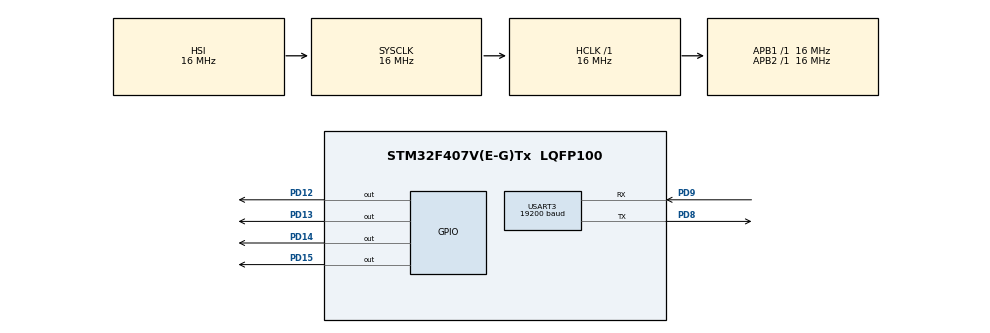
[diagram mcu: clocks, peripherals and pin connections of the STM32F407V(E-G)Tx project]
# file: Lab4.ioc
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Mcu.Family=STM32F4
Mcu.Name=STM32F407V(E-G)Tx
Mcu.Package=LQFP100
NVIC.PriorityGroup=NVIC_PRIORITYGROUP_4
PD12.Signal=GPIO_Output
PD13.Signal=GPIO_Output
PD14.Signal=GPIO_Output
PD15.Signal=GPIO_Output
PD8.Mode=Asynchronous
PD8.Signal=USART3_TX
PD9.Mode=Asynchronous
PD9.Signal=USART3_RX
ProjectManager.HeapSize=0x200
ProjectManager.StackSize=0x400
ProjectManager.TargetToolchain=STM32CubeIDE
RCC.AHBFreq_Value=16000000
RCC.APB1Freq_Value=16000000
RCC.APB2Freq_Value=16000000
RCC.CortexFreq_Value=16000000
RCC.HSE_VALUE=25000000
RCC.HSI_VALUE=16000000
RCC.LSE_VALUE=32768
RCC.SYSCLKFreq_VALUE=16000000
RCC.VCOOutputFreq_Value=192000000
USART3.BaudRate=19200
USART3.VirtualMode=VM_ASYNC
board=custom

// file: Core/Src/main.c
/* USER CODE BEGIN Header */
/**
  ******************************************************************************
  * @file           : main.c
  * @brief          : Main program body
  ******************************************************************************
  * @attention
  *
  * Copyright (c) 2025 STMicroelectronics.
  * All rights reserved.
  *
  * This software is licensed under terms that can be found in the LICENSE file
  * in the root directory of this software component.
  * If no LICENSE file comes with this software, it is provided AS-IS.
  *
  ******************************************************************************
  */
/* USER CODE END Header */
#include "main.h"

UART_HandleTypeDef huart3;

void SystemClock_Config(void);
static void MX_GPIO_Init(void);
static void MX_USART3_UART_Init(void);

int main(void)
{

  /* MCU Configuration--------------------------------------------------------*/

  /* Reset of all peripherals, Initializes the Flash interface and the Systick. */
  HAL_Init();

  /* Configure the system clock */
  SystemClock_Config();

  /* Initialize all configured peripherals */
  MX_GPIO_Init();
  MX_USART3_UART_Init();
  /* USER CODE BEGIN 2 */
  HAL_UART_Transmit(&huart3, (uint8_t*)"USART3 ready\r\n", 14, 100);
  uint8_t Buf=0;
  /* USER CODE END 2 */

  /* Infinite loop */
  /* USER CODE BEGIN WHILE */
  while (1)
  {

	  HAL_StatusTypeDef result;
	  result = HAL_UART_Receive(&huart3,&Buf,1,10);
	  if(result == HAL_OK){
		  switch (Buf){
		  case'1':
			  HAL_GPIO_TogglePin(GPIOD,GPIO_PIN_15);
			  if(HAL_GPIO_ReadPin(GPIOD, GPIO_PIN_15)){
				  HAL_UART_Transmit(&huart3,(uint8_t *)" - B ON\r\n",9,100);

			  }else{
				  HAL_UART_Transmit(&huart3,(uint8_t *)" - B OFF\r\n",10,100);
			  }
			  break;

		  case'2':
			  HAL_GPIO_TogglePin(GPIOD,GPIO_PIN_14);
			  if(HAL_GPIO_ReadPin(GPIOD, GPIO_PIN_14)){
				  HAL_UART_Transmit(&huart3,(uint8_t *)" - R ON\r\n",9,100);

			  }else{
				  HAL_UART_Transmit(&huart3,(uint8_t *)" - R OFF\r\n",10,100);
			  }
			  break;
		  case'3':
			  HAL_GPIO_TogglePin(GPIOD,GPIO_PIN_13);
			  if(HAL_GPIO_ReadPin(GPIOD, GPIO_PIN_13)){
				  HAL_UART_Transmit(&huart3,(uint8_t *)" - O ON\r\n",9,100);

			  }else{
				  HAL_UART_Transmit(&huart3,(uint8_t *)" - O OFF\r\n",10,100);
			  }
			  break;
		  case'4':
			  HAL_GPIO_TogglePin(GPIOD,GPIO_PIN_12);
			  if(HAL_GPIO_ReadPin(GPIOD, GPIO_PIN_12)){
				  HAL_UART_Transmit(&huart3,(uint8_t *)" - G ON\r\n",9,100);

			  }else{
				  HAL_UART_Transmit(&huart3,(uint8_t *)" - G OFF\r\n",10,100);
			  }
			  break;

		  case'5':
			  HAL_GPIO_WritePin(GPIOD,GPIO_PIN_12,GPIO_PIN_SET);
			  HAL_GPIO_WritePin(GPIOD,GPIO_PIN_13,GPIO_PIN_SET);
			  HAL_GPIO_WritePin(GPIOD,GPIO_PIN_14,GPIO_PIN_SET);
			  HAL_GPIO_WritePin(GPIOD,GPIO_PIN_15,GPIO_PIN_SET);
			  HAL_UART_Transmit(&huart3,(uint8_t *)" - ALL ON\r\n",11,100);
			  break;

		  case'6':
			  HAL_GPIO_WritePin(GPIOD,GPIO_PIN_12,GPIO_PIN_RESET);
			  HAL_GPIO_WritePin(GPIOD,GPIO_PIN_13,GPIO_PIN_RESET);
			  HAL_GPIO_WritePin(GPIOD,GPIO_PIN_14,GPIO_PIN_RESET);
			  HAL_GPIO_WritePin(GPIOD,GPIO_PIN_15,GPIO_PIN_RESET);
			  HAL_UART_Transmit(&huart3,(uint8_t *)" - ALL OFF\r\n",12,100);
			  break;

		  default:
			  HAL_UART_Transmit(&huart3,(uint8_t *)" - Incorrect command\r\n",22, 100);
			  break;
		  }
	  }

    /* USER CODE END WHILE */

  }
}

void SystemClock_Config(void)
{
  RCC_OscInitTypeDef RCC_OscInitStruct = {0};
  RCC_ClkInitTypeDef RCC_ClkInitStruct = {0};

  /** Configure the main internal regulator output voltage
  */
  __HAL_RCC_PWR_CLK_ENABLE();
  __HAL_PWR_VOLTAGESCALING_CONFIG(PWR_REGULATOR_VOLTAGE_SCALE1);

  /** Initializes the RCC Oscillators according to the specified parameters
  * in the RCC_OscInitTypeDef structure.
  */
  RCC_OscInitStruct.OscillatorType = RCC_OSCILLATORTYPE_HSI;
  RCC_OscInitStruct.HSIState = RCC_HSI_ON;
  RCC_OscInitStruct.HSICalibrationValue = RCC_HSICALIBRATION_DEFAULT;
  RCC_OscInitStruct.PLL.PLLState = RCC_PLL_NONE;
  if (HAL_RCC_OscConfig(&RCC_OscInitStruct) != HAL_OK)
  {
    Error_Handler();
  }

  /** Initializes the CPU, AHB and APB buses clocks
  */
  RCC_ClkInitStruct.ClockType = RCC_CLOCKTYPE_HCLK|RCC_CLOCKTYPE_SYSCLK
                              |RCC_CLOCKTYPE_PCLK1|RCC_CLOCKTYPE_PCLK2;
  RCC_ClkInitStruct.SYSCLKSource = RCC_SYSCLKSOURCE_HSI;
  RCC_ClkInitStruct.AHBCLKDivider = RCC_SYSCLK_DIV1;
  RCC_ClkInitStruct.APB1CLKDivider = RCC_HCLK_DIV1;
  RCC_ClkInitStruct.APB2CLKDivider = RCC_HCLK_DIV1;

  if (HAL_RCC_ClockConfig(&RCC_ClkInitStruct, FLASH_LATENCY_0) != HAL_OK)
  {
    Error_Handler();
  }
}

static void MX_USART3_UART_Init(void)
{

  huart3.Instance = USART3;
  huart3.Init.BaudRate = 19200;
  huart3.Init.WordLength = UART_WORDLENGTH_8B;
  huart3.Init.StopBits = UART_STOPBITS_1;
  huart3.Init.Parity = UART_PARITY_NONE;
  huart3.Init.Mode = UART_MODE_TX_RX;
  huart3.Init.HwFlowCtl = UART_HWCONTROL_NONE;
  huart3.Init.OverSampling = UART_OVERSAMPLING_16;
  if (HAL_UART_Init(&huart3) != HAL_OK)
  {
    Error_Handler();
  }

}

static void MX_GPIO_Init(void)
{
  GPIO_InitTypeDef GPIO_InitStruct = {0};

  /* GPIO Ports Clock Enable */
  __HAL_RCC_GPIOD_CLK_ENABLE();

  /*Configure GPIO pin Output Level */
  HAL_GPIO_WritePin(GPIOD, GPIO_PIN_12|GPIO_PIN_13|GPIO_PIN_14|GPIO_PIN_15, GPIO_PIN_RESET);

  /*Configure GPIO pins : PD12 PD13 PD14 PD15 */
  GPIO_InitStruct.Pin = GPIO_PIN_12|GPIO_PIN_13|GPIO_PIN_14|GPIO_PIN_15;
  GPIO_InitStruct.Mode = GPIO_MODE_OUTPUT_PP;
  GPIO_InitStruct.Pull = GPIO_NOPULL;
  GPIO_InitStruct.Speed = GPIO_SPEED_FREQ_LOW;
  HAL_GPIO_Init(GPIOD, &GPIO_InitStruct);

}

void Error_Handler(void)
{
  __disable_irq();
  while (1)
  {
  }
}
